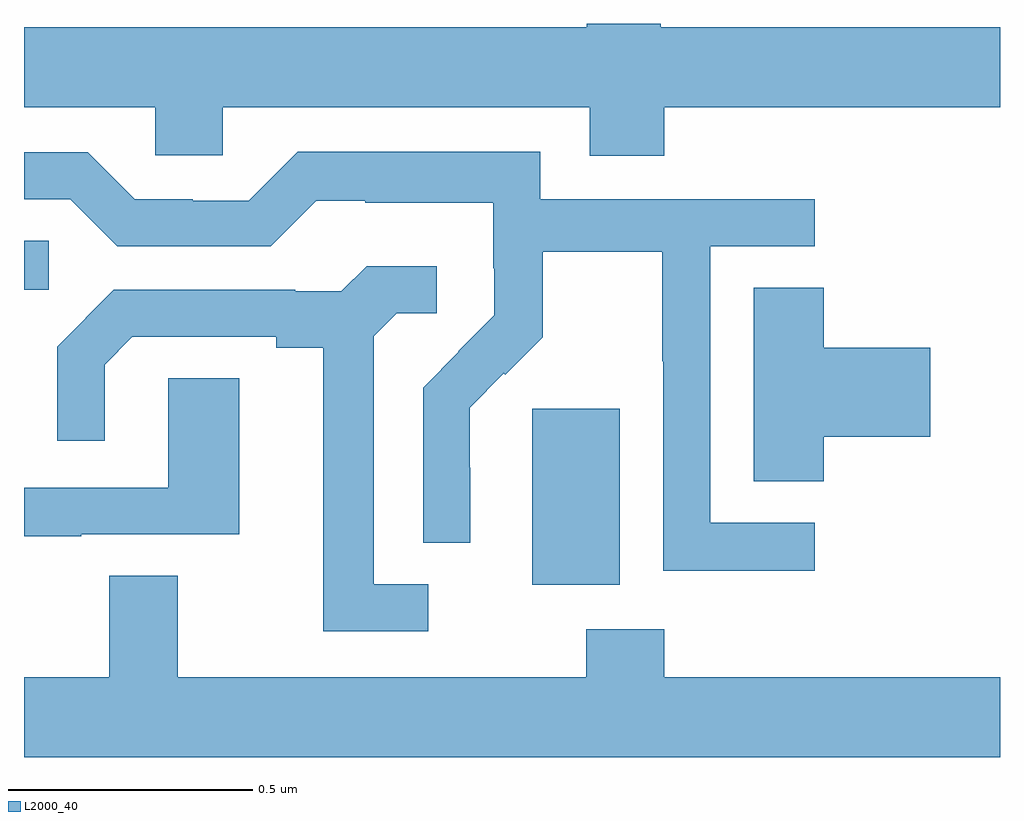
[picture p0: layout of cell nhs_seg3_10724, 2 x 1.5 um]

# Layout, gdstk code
import gdstk
lib = gdstk.Library(unit=1e-6, precision=1e-09)
def R(c, l, rs):  # rectangles x0, y0, x1, y1
    for r in rs: c.add(gdstk.rectangle(r[:2], r[2:], *l))
def P(c, l, *ps):  # polygons
    for p in ps: c.add(gdstk.Polygon(p, *l))
L2000_40 = (2000, 40)

nhs_seg3_10724 = lib.new_cell('nhs_seg3_10724')
R(nhs_seg3_10724, L2000_40, [(245.042,721.25,245.221,721.611), (244,721.854,244.051,721.955)])
P(nhs_seg3_10724, L2000_40, [(245.312,722.228),(246,722.228),(246,722.392),(245.305,722.392),(245.305,722.4),(245.153,722.4),(245.153,722.392),(244,722.392),(244,722.228),(244.269,722.228),(244.269,722.13),(244.407,722.13),(244.407,722.228),(245.159,722.228),(245.159,722.129),(245.312,722.129)],
  [(245.62,721.377),(245.406,721.377),(245.406,721.944),(245.62,721.944),(245.62,722.04),(245.058,722.04),(245.058,722.137),(244.561,722.137),(244.461,722.037),(244.346,722.037),(244.346,722.04),(244.227,722.04),(244.131,722.136),(244,722.136),(244,722.04),(244.095,722.04),(244.191,721.944),(244.506,721.944),(244.599,722.037),(244.699,722.037),(244.699,722.033),(244.962,722.033),(244.962,721.899),(244.964,721.899),(244.964,721.802),(244.89,721.728),(244.891,721.727),(244.818,721.654),(244.818,721.336),(244.914,721.336),(244.914,721.49),(244.913,721.49),(244.913,721.613),(244.983,721.683),(244.986,721.68),(245.063,721.757),(245.063,721.932),(245.308,721.932),(245.308,721.708),(245.31,721.708),(245.31,721.279),(245.62,721.279)],
  [(244.828,721.251),(244.717,721.251),(244.717,721.759),(244.764,721.806),(244.846,721.806),(244.846,721.903),(244.702,721.903),(244.65,721.851),(244.556,721.851),(244.556,721.854),(244.184,721.854),(244.068,721.738),(244.068,721.545),(244.165,721.545),(244.165,721.701),(244.222,721.758),(244.517,721.758),(244.517,721.736),(244.613,721.736),(244.613,721.155),(244.828,721.155)],
  [(245.639,721.553),(245.857,721.553),(245.857,721.736),(245.639,721.736),(245.639,721.859),(245.495,721.859),(245.495,721.462),(245.639,721.462)],
  [(244.117,721.353),(244.441,721.353),(244.441,721.673),(244.296,721.673),(244.296,721.449),(244,721.449),(244,721.349),(244.117,721.349)],
  [(246,721.06),(245.312,721.06),(245.312,721.159),(245.152,721.159),(245.152,721.06),(244.315,721.06),(244.315,721.268),(244.175,721.268),(244.175,721.06),(244,721.06),(244,720.896),(246,720.896)])

lib.write_gds('nhs_seg3_10724.gds')
